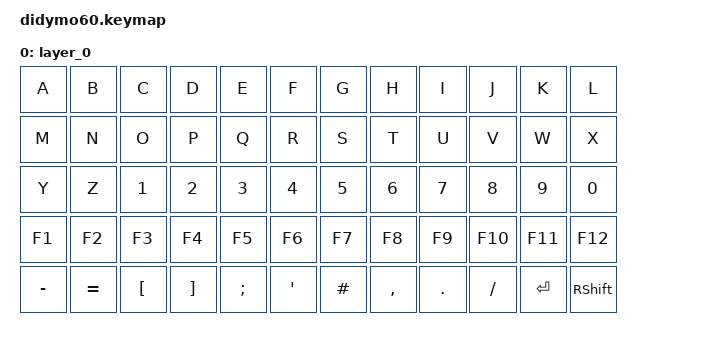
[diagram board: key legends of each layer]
/*
 * Copyright (c) 2020 The ZMK Contributors
 *
 * SPDX-License-Identifier: MIT
 */

#include <behaviors.dtsi>
#include <dt-bindings/zmk/keys.h>

/ {
    keymap {
        compatible = "zmk,keymap";

        layer_0 {
            bindings = <
&kp A      &kp B      &kp C     &kp D     &kp E     &kp F      &kp G      &kp H      &kp I    &kp J     &kp K    &kp L
&kp M      &kp N      &kp O     &kp P     &kp Q     &kp R      &kp S      &kp T      &kp U    &kp V     &kp W    &kp X
&kp Y      &kp Z      &kp N1    &kp N2    &kp N3    &kp N4     &kp N5     &kp N6     &kp N7   &kp N8    &kp N9   &kp N0
&kp F1     &kp F2     &kp F3    &kp F4    &kp F5    &kp F6     &kp F7     &kp F8     &kp F9   &kp F10   &kp F11  &kp F12
&kp MINUS  &kp EQUAL  &kp LBKT  &kp RBKT  &kp SEMI  &kp SQT    &kp POUND  &kp COMMA  &kp DOT  &kp FSLH  &kp RET  &kp RSHFT
            >;
        };
    };
};
